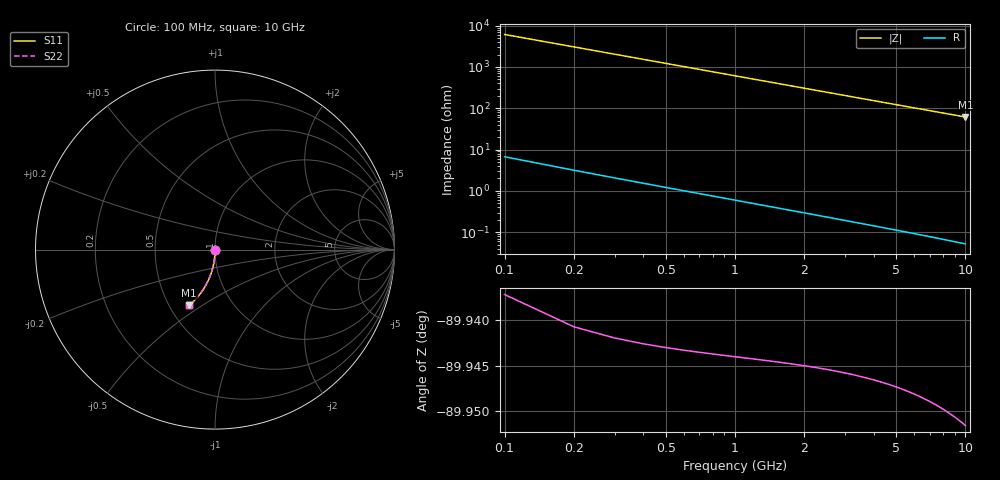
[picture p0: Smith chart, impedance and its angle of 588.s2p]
# Hz S RI R 50.00
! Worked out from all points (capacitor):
!   100 points, 100 MHz to 10 GHz, reference 50 ohm
!   read as one part in shunt: C = 260 fF near 100 MHz
!   lowest |Z| = 61.6 ohm at 10 GHz (marker M1)
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1e8  0.000354 -0.00367  0.9996 -0.00451  0.9996 -0.00451  0.000354 -0.00367
2e8  0.000303 -0.00734  0.9995 -0.00901  0.9995 -0.00901  0.000303 -0.00734
3e8  0.000218 -0.011  0.9995 -0.0135  0.9995 -0.0135  0.000218 -0.011
4e8  0.0001 -0.0147  0.9993 -0.018  0.9993 -0.018  0.0001 -0.0147
5e8  -5.13e-05 -0.0184  0.9992 -0.0225  0.9992 -0.0225  -5.13e-05 -0.0184
6e8  -0.000236 -0.022  0.999 -0.027  0.999 -0.027  -0.000236 -0.022
7e8  -0.000454 -0.0257  0.9988 -0.0315  0.9988 -0.0315  -0.000454 -0.0257
8e8  -0.000704 -0.0293  0.9985 -0.036  0.9985 -0.036  -0.000704 -0.0293
9e8  -0.000988 -0.033  0.9982 -0.0405  0.9982 -0.0405  -0.000988 -0.033
1.1e9  -0.00165 -0.0403  0.9975 -0.0495  0.9975 -0.0495  -0.00165 -0.0403
1.4e9  -0.0029 -0.0512  0.9963 -0.0629  0.9963 -0.0629  -0.0029 -0.0512
1.8e9  -0.00501 -0.0657  0.9941 -0.0807  0.9941 -0.0807  -0.00501 -0.0657
2.1e9  -0.00694 -0.0765  0.9921 -0.094  0.9921 -0.094  -0.00694 -0.0765
2.5e9  -0.00995 -0.0908  0.989 -0.1117  0.989 -0.1117  -0.00995 -0.0908
2.9e9  -0.0135 -0.1049  0.9854 -0.1291  0.9854 -0.1291  -0.0135 -0.1049
3.4e9  -0.0185 -0.1223  0.9803 -0.1507  0.9803 -0.1507  -0.0185 -0.1223
4.2e9  -0.0282 -0.1495  0.9704 -0.1846  0.9704 -0.1846  -0.0282 -0.1495
5.1e9  -0.0412 -0.179  0.957 -0.2216  0.957 -0.2216  -0.0412 -0.179
5.9e9  -0.0546 -0.204  0.9434 -0.2533  0.9434 -0.2533  -0.0546 -0.204
6.7e9  -0.0694 -0.2277  0.9281 -0.2838  0.9281 -0.2838  -0.0694 -0.2277
8.4e9  -0.1054 -0.2735  0.8912 -0.3439  0.8912 -0.3439  -0.1054 -0.2735
1e10  -0.1436 -0.3104  0.8519 -0.3944  0.8519 -0.3944  -0.1436 -0.3104
